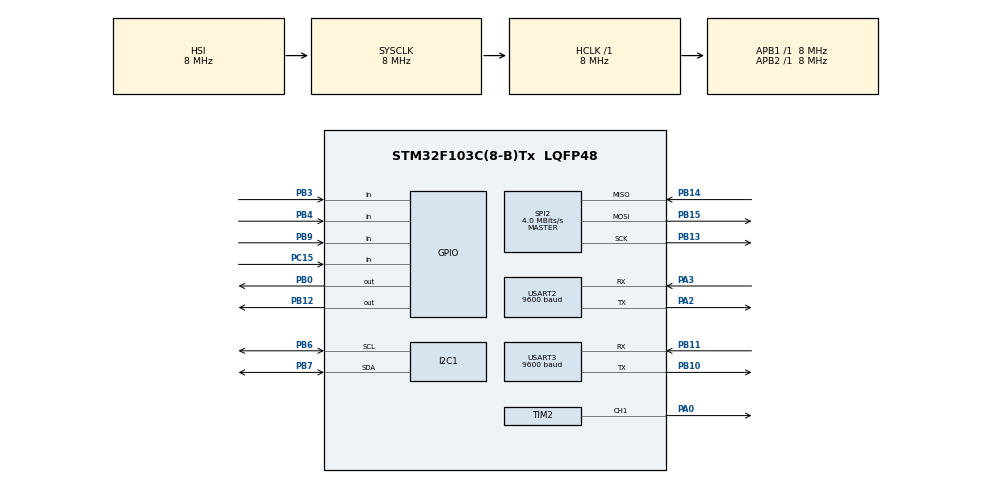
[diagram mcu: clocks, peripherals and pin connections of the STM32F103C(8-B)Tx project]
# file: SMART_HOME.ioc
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Mcu.Family=STM32F1
Mcu.Name=STM32F103C(8-B)Tx
Mcu.Package=LQFP48
NVIC.PriorityGroup=NVIC_PRIORITYGROUP_4
NVIC.TIM3_IRQn=true\:0\:0\:true\:false\:true\:true\:true\:true
NVIC.USART2_IRQn=true\:0\:0\:true\:false\:true\:true\:true\:true
NVIC.USART3_IRQn=true\:0\:0\:false\:false\:true\:true\:true\:true
PA0-WKUP.Signal=S_TIM2_CH1_ETR
PA13.Mode=Serial_Wire
PA13.Signal=SYS_JTMS-SWDIO
PA14.Mode=Serial_Wire
PA14.Signal=SYS_JTCK-SWCLK
PA2.Mode=Asynchronous
PA2.Signal=USART2_TX
PA3.Mode=Asynchronous
PA3.Signal=USART2_RX
PB0.Signal=GPIO_Output
PB10.Mode=Asynchronous
PB10.Signal=USART3_TX
PB11.GPIO_PuPd=GPIO_PULLUP
PB11.Mode=Asynchronous
PB11.Signal=USART3_RX
PB12.Signal=GPIO_Output
PB13.Mode=Full_Duplex_Master
PB13.Signal=SPI2_SCK
PB14.Mode=Full_Duplex_Master
PB14.Signal=SPI2_MISO
PB15.Mode=Full_Duplex_Master
PB15.Signal=SPI2_MOSI
PB3.GPIO_PuPd=GPIO_PULLDOWN
PB3.Signal=GPIO_Input
PB4.GPIO_PuPd=GPIO_PULLDOWN
PB4.Signal=GPIO_Input
PB6.Mode=I2C
PB6.Signal=I2C1_SCL
PB7.Mode=I2C
PB7.Signal=I2C1_SDA
PB9.GPIO_PuPd=GPIO_PULLDOWN
PB9.Signal=GPIO_Input
PC15-OSC32_OUT.Signal=GPIO_Input
PD0-OSC_IN.Mode=HSE-External-Oscillator
PD0-OSC_IN.Signal=RCC_OSC_IN
PD1-OSC_OUT.Mode=HSE-External-Oscillator
PD1-OSC_OUT.Signal=RCC_OSC_OUT
ProjectManager.HeapSize=0x200
ProjectManager.StackSize=0x400
ProjectManager.TargetToolchain=MDK-ARM V5.32
RCC.AHBFreq_Value=8000000
RCC.APB1Freq_Value=8000000
RCC.APB1TimFreq_Value=8000000
RCC.APB2Freq_Value=8000000
RCC.APB2TimFreq_Value=8000000
RCC.HCLKFreq_Value=8000000
RCC.SYSCLKFreq_VALUE=8000000
RCC.USBFreq_Value=8000000
SH.S_TIM2_CH1_ETR.0=TIM2_CH1,PWM Generation1 CH1
SPI2.CalculateBaudRate=4.0 MBits/s
SPI2.Direction=SPI_DIRECTION_2LINES
SPI2.Mode=SPI_MODE_MASTER
SPI2.VirtualType=VM_MASTER
TIM2.Channel-PWM\ Generation1\ CH1=TIM_CHANNEL_1
TIM2.Period=999
TIM2.Prescaler=159
TIM2.Pulse-PWM\ Generation1\ CH1=500
TIM3.Period=999
TIM3.Prescaler=319
USART2.BaudRate=9600
USART2.VirtualMode=VM_ASYNC
USART3.BaudRate=9600
USART3.VirtualMode=VM_ASYNC
VP_TIM2_VS_ClockSourceINT.Mode=Internal
VP_TIM3_VS_ClockSourceINT.Mode=Internal
board=custom

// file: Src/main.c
/* USER CODE BEGIN Header */
/**
  ******************************************************************************
  * @file           : main.c
  * @brief          : Main program body
  ******************************************************************************
  * @attention
  *
  * Copyright (c) 2023 STMicroelectronics.
  * All rights reserved.
  *
  * This software is licensed under terms that can be found in the LICENSE file
  * in the root directory of this software component.
  * If no LICENSE file comes with this software, it is provided AS-IS.
  *
  ******************************************************************************
  */
/* USER CODE END Header */
#include "main.h"

/* USER CODE BEGIN Includes */
#include "math.h"
#include "string.h"
/* USER CODE END Includes */

/* USER CODE BEGIN PD */
#define mpu_add 0xD0
/* USER CODE END PD */

I2C_HandleTypeDef hi2c1;

SPI_HandleTypeDef hspi2;

TIM_HandleTypeDef htim2;
TIM_HandleTypeDef htim3;

UART_HandleTypeDef huart2;
UART_HandleTypeDef huart3;

/* USER CODE BEGIN PV */

//MPU
uint8_t trans_data[6];
uint8_t high , low ;
uint8_t rdata_i2c[2];
int16_t data_i2c;
float ax , ay , az , pitch , roll;
uint8_t check =0;

//SPI
uint8_t o_char = 0x7E;
uint8_t e_char = 0b01001111;
uint8_t p_char = 0x67;
uint8_t n_char = 0x76;
uint8_t c_char = 0x4E;
uint8_t s_char = 0x5B;
uint8_t l_char = 0xE;
uint8_t gach = 0x01;
uint8_t a_char = 0b01110111;

// password
char password[]="123";
char user_key[3] ;
uint8_t count =0;
uint8_t state = 0 ;
uint8_t isopen =0;
// count time to 5s
uint16_t count_time =0 ;

// uart bluetooth
uint8_t warming_buff[] = "Warming : YOU FORGET TO CLOSE A DOOR  !!!\n";
uint8_t requird_pass [] = "PassWord :";
uint8_t ch =0x13;
uint8_t RxData[100],rxData;
uint8_t index =0;
uint8_t flag =0 ;
uint8_t open[] = "open";
uint8_t close [] = "close";

/* USER CODE END PV */

void SystemClock_Config(void);
static void MX_GPIO_Init(void);
static void MX_I2C1_Init(void);
static void MX_TIM2_Init(void);
static void MX_TIM3_Init(void);
static void MX_SPI2_Init(void);
static void MX_USART2_UART_Init(void);
static void MX_USART3_UART_Init(void);

/* USER CODE BEGIN 0 */

////// Count Time to 5s ///////////
void HAL_TIM_PeriodElapsedCallback(TIM_HandleTypeDef *htim)
{
 if(htim->Instance == htim3.Instance)
 {
   count_time++; // count_time = 250 <==> time from 0s to 5s
 }
}

///// interput uart
void HAL_UART_RxCpltCallback(UART_HandleTypeDef *huart)
{
	if(huart->Instance == USART2)
	{
    		if(rxData!=13)
    		{
    			RxData[index++] = rxData;
    		}
    		else if (rxData==13)
    		{
    			index = 0 ;
			flag = 1 ;
    		}

	}
  HAL_UART_Receive_IT(&huart2,&rxData,1); // Enabling interrupt receive again
}

//////// MPU_I2C peripherals   /////////

void CHeck_I2C(){
	HAL_I2C_Mem_Read(&hi2c1,mpu_add,0x75,1,&check,1,1000);
}

void MPU6050_Init()
{
	// sample rate 0x19
	trans_data[0]=0x07;
	// config 0x1A
	trans_data[1]=0x00;
	// GYRO_CONFIG 0x1B
	trans_data[2]=0x08;
	// ACCEL_CONFIG 0x1C
	trans_data[3]=0x10;
	// interrupt
	trans_data[4]=0x09;
	// clock and pwr
	trans_data[5]=0x00;

	HAL_I2C_Mem_Write(&hi2c1,mpu_add,0x19,I2C_MEMADD_SIZE_8BIT,&trans_data[0],1,1000);
	HAL_I2C_Mem_Write(&hi2c1,mpu_add,0x1A,I2C_MEMADD_SIZE_8BIT,&trans_data[1],1,1000);
	HAL_I2C_Mem_Write(&hi2c1,mpu_add,0x1B,I2C_MEMADD_SIZE_8BIT,&trans_data[2],1,1000);
	HAL_I2C_Mem_Write(&hi2c1,mpu_add,0x1C,I2C_MEMADD_SIZE_8BIT,&trans_data[3],1,1000);
	HAL_I2C_Mem_Write(&hi2c1,mpu_add,0x38,I2C_MEMADD_SIZE_8BIT,&trans_data[4],1,1000);
	HAL_I2C_Mem_Write(&hi2c1,mpu_add,0x6B,I2C_MEMADD_SIZE_8BIT,&trans_data[5],1,1000);

}

int16_t ReadRegis16bits(uint8_t add)
{

	HAL_I2C_Mem_Read(&hi2c1,mpu_add,add,I2C_MEMADD_SIZE_8BIT,&high,1,1000);
	HAL_I2C_Mem_Read(&hi2c1,mpu_add,add+1,I2C_MEMADD_SIZE_8BIT,&low,1,1000);
	data_i2c = (int16_t)(high<<8)|low;
	return data_i2c;
}

void ReadDataAcc()
{

	ax = (float)ReadRegis16bits(0x3B)/4096.0;
	ay = (float)ReadRegis16bits(0x3D)/4096.0;
	az = (float)ReadRegis16bits(0x3F)/4096.0;

	pitch = atan2(-ax, sqrt(pow(ay,2)+pow(az,2)))*180.0/3.14;
	roll = atan2(ay, sqrt(pow(ax,2)+pow(az,2)))*180.0/3.14;
}

////////////////////// SPI /////////////////////

void sendData_SPI(uint8_t add , uint8_t data)
{
	HAL_GPIO_WritePin(GPIOB,GPIO_PIN_12,GPIO_PIN_RESET);
	HAL_SPI_Transmit(&hspi2,&add,1,100);
	HAL_SPI_Transmit(&hspi2,&data,1,100);
	HAL_GPIO_WritePin(GPIOB,GPIO_PIN_12,GPIO_PIN_SET);
}

void MAX7219_Init()
{

	// shutdown format
	sendData_SPI(0x0C,0x01);

	// decode mode
	sendData_SPI(0x09,0x00);

	// Intensity Register Forma
	sendData_SPI(0x0A,0x09);

	//Scan-Limit Register Format
	sendData_SPI(0x0B,0x07);

	// Display-Test Register Format
	sendData_SPI(0x0F,0x00);

}

void DisplayClose()
{
	sendData_SPI(0x0B,3);
	sendData_SPI(4,c_char);
	sendData_SPI(3,0b01111110);
	sendData_SPI(2,l_char);
	sendData_SPI(1,s_char);
}

void DisplayOpen()
{
	sendData_SPI(0x0B,3);
	sendData_SPI(1,n_char);
	sendData_SPI(2,e_char);
	sendData_SPI(3,p_char);
	sendData_SPI(4,o_char);
}

void DisplayPassWordClear()
{
	sendData_SPI(0x0B,7);
	sendData_SPI(8,p_char);
	sendData_SPI(7,a_char);
	sendData_SPI(6,s_char);
	sendData_SPI(5,s_char);
	sendData_SPI(4,0b10000000);
	sendData_SPI(3,0b10000000);
	sendData_SPI(2,0b10000000);
	sendData_SPI(1,0b10000000);

}

void DisplayPassWord(int c)
{
	sendData_SPI(0x0B,7);
	sendData_SPI(8,p_char);
	sendData_SPI(7,a_char);
	sendData_SPI(6,s_char);
	sendData_SPI(5,s_char);

	if (c == 1)
	{
		sendData_SPI(3,gach);
	}
	else if( c==2)
	{
		sendData_SPI(3,gach);
		sendData_SPI(2,gach);
	}
	else if (c==3)
	{
		sendData_SPI(3,gach);
		sendData_SPI(2,gach);
		sendData_SPI(1,gach);
	}

}

//////// SerVo ///////////////////
void SerVo_Open(){

	for(int i =75 ;i<=125 ;i++)
	{
		__HAL_TIM_SetCompare(&htim2, TIM_CHANNEL_1, i);
		HAL_Delay(100);
	}
}

void SerVo_Close(){
	for(int i =125 ;i>=75 ;i--)
	{
		__HAL_TIM_SetCompare(&htim2, TIM_CHANNEL_1, i);
		HAL_Delay(100);
	}
}

////////Sound ////////
void Sound(){
	HAL_GPIO_WritePin(GPIOB,GPIO_PIN_0,GPIO_PIN_SET);
	HAL_Delay(100);
	HAL_GPIO_WritePin(GPIOB,GPIO_PIN_0,GPIO_PIN_RESET);

}

////// PassWord ////////////
void CheckPassWord(){

	// type password if door close
	while( count<3 && state == 0 && flag!=1)
	{

		if (HAL_GPIO_ReadPin(GPIOB,GPIO_PIN_4)==SET){
				DisplayPassWord(count+1);
				user_key[count++] = '1' ;
				Sound();
		}
		else if (HAL_GPIO_ReadPin(GPIOB,GPIO_PIN_3)==SET){
				DisplayPassWord(count+1);
				user_key[count++] = '2' ;
				Sound();
		}
		else if (HAL_GPIO_ReadPin(GPIOB,GPIO_PIN_9)==SET){
				DisplayPassWord(count+1);
				user_key[count++] = '3' ;
				Sound();
		}

		if (count == 3)
		{

			if ( strcmp(user_key,password)==0)
			{
				count_time = 0;
				state = 1;
				SerVo_Open();
				DisplayOpen();

			}
			else
			{
				count=0;
				DisplayPassWordClear();
			}

		}
	}

	// check  if door still open in 10s

	if(state == 1)
	{
		int count_warming =0 ;
		// check if door open	over 10s
		if(count_time >=800 ) //
		{
			if (HAL_GPIO_ReadPin(GPIOC,GPIO_PIN_15)==SET) // still open
			{

				while (count_warming ++ < 10)
				{
					HAL_UART_Transmit(&huart2,warming_buff,sizeof(warming_buff)-1,1000);
					Sound();

					if (strcmp((char*)RxData,(char*)open)==0)
					{

						DisplayOpen();
						count =0 ;
						state = 0;
						rxData = 0;
						memset(RxData,0,sizeof(RxData));
						isopen = 1;
						flag=0;
						break ;
					}
					else if( strcmp( (char*)RxData,(char*)close)==0)
					{
						SerVo_Close();
						DisplayClose();
						count =0 ;
						DisplayPassWordClear();
						state = 0;
						rxData = 0;
						rxData = 0;
						memset(RxData,0,sizeof(RxData));
						flag=0;
						break;
					}
					HAL_Delay(1000);
				}

			}

		}

	}

	if(isopen == 1 && HAL_GPIO_ReadPin(GPIOC,GPIO_PIN_15)==SET)
	{
			SerVo_Close();
			DisplayClose();
			count =0 ;
			DisplayPassWordClear();
			state = 0;
			rxData = ' ';
			isopen = 0;
	}

	if(strcmp((char*)RxData,(char*)open)==0 && state ==0 && flag == 1 )
	{
		HAL_UART_Transmit(&huart2,requird_pass,sizeof(requird_pass)-1,1000);
		memset(RxData,0,sizeof(RxData));

		if ( strcmp(user_key,password)==0)
			{
				count_time = 0;
				state = 1;
				SerVo_Open();
				DisplayOpen();

			}
		else
			{
				count=0;
				DisplayPassWordClear();
			}
		flag =0 ;
	}

}

/* USER CODE END 0 */

int main(void)
{

  /* MCU Configuration--------------------------------------------------------*/

  /* Reset of all peripherals, Initializes the Flash interface and the Systick. */
  HAL_Init();

  /* Configure the system clock */
  SystemClock_Config();

  /* Initialize all configured peripherals */
  MX_GPIO_Init();
  MX_I2C1_Init();
  MX_TIM2_Init();
  MX_TIM3_Init();
  MX_SPI2_Init();
  MX_USART2_UART_Init();
  MX_USART3_UART_Init();
  /* USER CODE BEGIN 2 */

	//Servo peripherals
	HAL_TIM_Base_Start(&htim2);
	HAL_TIM_PWM_Start(&htim2,TIM_CHANNEL_1);
	HAL_TIM_Base_Start_IT(&htim3);
	SerVo_Close();

	// MPU_I2C  peripherals
	CHeck_I2C();
	if(check == 104){
		MPU6050_Init();
	}

	// SPI
	MAX7219_Init();
	DisplayPassWordClear();

	//UART
	HAL_UART_Receive_IT(&huart2,&rxData,1);

  /* USER CODE END 2 */

  /* Infinite loop */
  while (1)
  {

    /* USER CODE BEGIN 3 */
		CheckPassWord();
		//ReadDataAcc();

  }
  /* USER CODE END 3 */
}

void SystemClock_Config(void)
{
  RCC_OscInitTypeDef RCC_OscInitStruct = {0};
  RCC_ClkInitTypeDef RCC_ClkInitStruct = {0};

  /** Initializes the RCC Oscillators according to the specified parameters
  * in the RCC_OscInitTypeDef structure.
  */
  RCC_OscInitStruct.OscillatorType = RCC_OSCILLATORTYPE_HSI;
  RCC_OscInitStruct.HSIState = RCC_HSI_ON;
  RCC_OscInitStruct.HSICalibrationValue = RCC_HSICALIBRATION_DEFAULT;
  RCC_OscInitStruct.PLL.PLLState = RCC_PLL_NONE;
  if (HAL_RCC_OscConfig(&RCC_OscInitStruct) != HAL_OK)
  {
    Error_Handler();
  }

  /** Initializes the CPU, AHB and APB buses clocks
  */
  RCC_ClkInitStruct.ClockType = RCC_CLOCKTYPE_HCLK|RCC_CLOCKTYPE_SYSCLK
                              |RCC_CLOCKTYPE_PCLK1|RCC_CLOCKTYPE_PCLK2;
  RCC_ClkInitStruct.SYSCLKSource = RCC_SYSCLKSOURCE_HSI;
  RCC_ClkInitStruct.AHBCLKDivider = RCC_SYSCLK_DIV1;
  RCC_ClkInitStruct.APB1CLKDivider = RCC_HCLK_DIV1;
  RCC_ClkInitStruct.APB2CLKDivider = RCC_HCLK_DIV1;

  if (HAL_RCC_ClockConfig(&RCC_ClkInitStruct, FLASH_LATENCY_0) != HAL_OK)
  {
    Error_Handler();
  }
}

static void MX_I2C1_Init(void)
{

  hi2c1.Instance = I2C1;
  hi2c1.Init.ClockSpeed = 100000;
  hi2c1.Init.DutyCycle = I2C_DUTYCYCLE_2;
  hi2c1.Init.OwnAddress1 = 0;
  hi2c1.Init.AddressingMode = I2C_ADDRESSINGMODE_7BIT;
  hi2c1.Init.DualAddressMode = I2C_DUALADDRESS_DISABLE;
  hi2c1.Init.OwnAddress2 = 0;
  hi2c1.Init.GeneralCallMode = I2C_GENERALCALL_DISABLE;
  hi2c1.Init.NoStretchMode = I2C_NOSTRETCH_DISABLE;
  if (HAL_I2C_Init(&hi2c1) != HAL_OK)
  {
    Error_Handler();
  }

}

static void MX_SPI2_Init(void)
{

  /* SPI2 parameter configuration*/
  hspi2.Instance = SPI2;
  hspi2.Init.Mode = SPI_MODE_MASTER;
  hspi2.Init.Direction = SPI_DIRECTION_2LINES;
  hspi2.Init.DataSize = SPI_DATASIZE_8BIT;
  hspi2.Init.CLKPolarity = SPI_POLARITY_LOW;
  hspi2.Init.CLKPhase = SPI_PHASE_1EDGE;
  hspi2.Init.NSS = SPI_NSS_SOFT;
  hspi2.Init.BaudRatePrescaler = SPI_BAUDRATEPRESCALER_2;
  hspi2.Init.FirstBit = SPI_FIRSTBIT_MSB;
  hspi2.Init.TIMode = SPI_TIMODE_DISABLE;
  hspi2.Init.CRCCalculation = SPI_CRCCALCULATION_DISABLE;
  hspi2.Init.CRCPolynomial = 10;
  if (HAL_SPI_Init(&hspi2) != HAL_OK)
  {
    Error_Handler();
  }

}

static void MX_TIM2_Init(void)
{

  TIM_ClockConfigTypeDef sClockSourceConfig = {0};
  TIM_MasterConfigTypeDef sMasterConfig = {0};
  TIM_OC_InitTypeDef sConfigOC = {0};

  htim2.Instance = TIM2;
  htim2.Init.Prescaler = 159;
  htim2.Init.CounterMode = TIM_COUNTERMODE_UP;
  htim2.Init.Period = 999;
  htim2.Init.ClockDivision = TIM_CLOCKDIVISION_DIV1;
  htim2.Init.AutoReloadPreload = TIM_AUTORELOAD_PRELOAD_DISABLE;
  if (HAL_TIM_Base_Init(&htim2) != HAL_OK)
  {
    Error_Handler();
  }
  sClockSourceConfig.ClockSource = TIM_CLOCKSOURCE_INTERNAL;
  if (HAL_TIM_ConfigClockSource(&htim2, &sClockSourceConfig) != HAL_OK)
  {
    Error_Handler();
  }
  if (HAL_TIM_PWM_Init(&htim2) != HAL_OK)
  {
    Error_Handler();
  }
  sMasterConfig.MasterOutputTrigger = TIM_TRGO_RESET;
  sMasterConfig.MasterSlaveMode = TIM_MASTERSLAVEMODE_DISABLE;
  if (HAL_TIMEx_MasterConfigSynchronization(&htim2, &sMasterConfig) != HAL_OK)
  {
    Error_Handler();
  }
  sConfigOC.OCMode = TIM_OCMODE_PWM1;
  sConfigOC.Pulse = 500;
  sConfigOC.OCPolarity = TIM_OCPOLARITY_HIGH;
  sConfigOC.OCFastMode = TIM_OCFAST_DISABLE;
  if (HAL_TIM_PWM_ConfigChannel(&htim2, &sConfigOC, TIM_CHANNEL_1) != HAL_OK)
  {
    Error_Handler();
  }
  HAL_TIM_MspPostInit(&htim2);

}

static void MX_TIM3_Init(void)
{

  TIM_ClockConfigTypeDef sClockSourceConfig = {0};
  TIM_MasterConfigTypeDef sMasterConfig = {0};

  htim3.Instance = TIM3;
  htim3.Init.Prescaler = 159;
  htim3.Init.CounterMode = TIM_COUNTERMODE_UP;
  htim3.Init.Period = 999;
  htim3.Init.ClockDivision = TIM_CLOCKDIVISION_DIV1;
  htim3.Init.AutoReloadPreload = TIM_AUTORELOAD_PRELOAD_DISABLE;
  if (HAL_TIM_Base_Init(&htim3) != HAL_OK)
  {
    Error_Handler();
  }
  sClockSourceConfig.ClockSource = TIM_CLOCKSOURCE_INTERNAL;
  if (HAL_TIM_ConfigClockSource(&htim3, &sClockSourceConfig) != HAL_OK)
  {
    Error_Handler();
  }
  sMasterConfig.MasterOutputTrigger = TIM_TRGO_RESET;
  sMasterConfig.MasterSlaveMode = TIM_MASTERSLAVEMODE_DISABLE;
  if (HAL_TIMEx_MasterConfigSynchronization(&htim3, &sMasterConfig) != HAL_OK)
  {
    Error_Handler();
  }

}

static void MX_USART2_UART_Init(void)
{

  huart2.Instance = USART2;
  huart2.Init.BaudRate = 9600;
  huart2.Init.WordLength = UART_WORDLENGTH_8B;
  huart2.Init.StopBits = UART_STOPBITS_1;
  huart2.Init.Parity = UART_PARITY_NONE;
  huart2.Init.Mode = UART_MODE_TX_RX;
  huart2.Init.HwFlowCtl = UART_HWCONTROL_NONE;
  huart2.Init.OverSampling = UART_OVERSAMPLING_16;
  if (HAL_UART_Init(&huart2) != HAL_OK)
  {
    Error_Handler();
  }

}

static void MX_USART3_UART_Init(void)
{

  huart3.Instance = USART3;
  huart3.Init.BaudRate = 9600;
  huart3.Init.WordLength = UART_WORDLENGTH_8B;
  huart3.Init.StopBits = UART_STOPBITS_1;
  huart3.Init.Parity = UART_PARITY_NONE;
  huart3.Init.Mode = UART_MODE_TX_RX;
  huart3.Init.HwFlowCtl = UART_HWCONTROL_NONE;
  huart3.Init.OverSampling = UART_OVERSAMPLING_16;
  if (HAL_UART_Init(&huart3) != HAL_OK)
  {
    Error_Handler();
  }

}

static void MX_GPIO_Init(void)
{
  GPIO_InitTypeDef GPIO_InitStruct = {0};

  /* GPIO Ports Clock Enable */
  __HAL_RCC_GPIOC_CLK_ENABLE();
  __HAL_RCC_GPIOD_CLK_ENABLE();
  __HAL_RCC_GPIOA_CLK_ENABLE();
  __HAL_RCC_GPIOB_CLK_ENABLE();

  /*Configure GPIO pin Output Level */
  HAL_GPIO_WritePin(GPIOB, GPIO_PIN_0|GPIO_PIN_12, GPIO_PIN_RESET);

  /*Configure GPIO pin : PC15 */
  GPIO_InitStruct.Pin = GPIO_PIN_15;
  GPIO_InitStruct.Mode = GPIO_MODE_INPUT;
  GPIO_InitStruct.Pull = GPIO_NOPULL;
  HAL_GPIO_Init(GPIOC, &GPIO_InitStruct);

  /*Configure GPIO pins : PB0 PB12 */
  GPIO_InitStruct.Pin = GPIO_PIN_0|GPIO_PIN_12;
  GPIO_InitStruct.Mode = GPIO_MODE_OUTPUT_PP;
  GPIO_InitStruct.Pull = GPIO_NOPULL;
  GPIO_InitStruct.Speed = GPIO_SPEED_FREQ_LOW;
  HAL_GPIO_Init(GPIOB, &GPIO_InitStruct);

  /*Configure GPIO pins : PB3 PB4 PB9 */
  GPIO_InitStruct.Pin = GPIO_PIN_3|GPIO_PIN_4|GPIO_PIN_9;
  GPIO_InitStruct.Mode = GPIO_MODE_INPUT;
  GPIO_InitStruct.Pull = GPIO_PULLDOWN;
  HAL_GPIO_Init(GPIOB, &GPIO_InitStruct);

}

void Error_Handler(void)
{
  __disable_irq();
  while (1)
  {
  }
}
